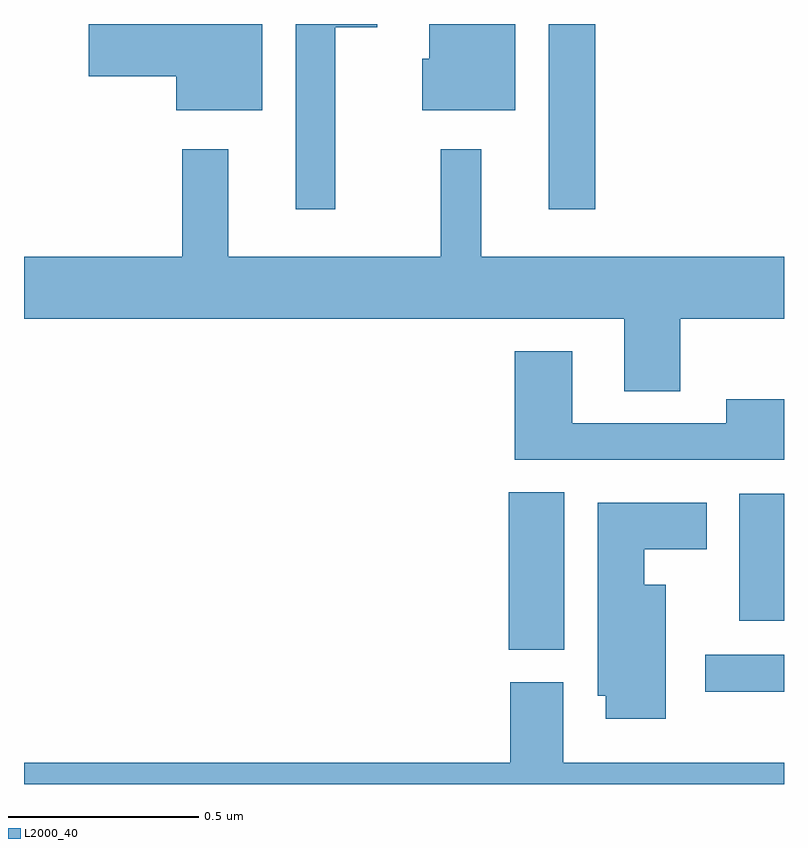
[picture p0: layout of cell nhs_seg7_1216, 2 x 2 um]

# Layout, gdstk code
import gdstk
lib = gdstk.Library(unit=1e-6, precision=1e-09)
def R(c, l, rs):  # rectangles x0, y0, x1, y1
    for r in rs: c.add(gdstk.rectangle(r[:2], r[2:], *l))
def P(c, l, *ps):  # polygons
    for p in ps: c.add(gdstk.Polygon(p, *l))
L2000_40 = (2000, 40)

nhs_seg7_1216 = lib.new_cell('nhs_seg7_1216')
R(nhs_seg7_1216, L2000_40, [(128.793,1058.243,129,1058.34), (128.276,1058.353,128.422,1058.768), (128.882,1058.429,129,1058.764), (128.381,1059.513,128.503,1060)])
P(nhs_seg7_1216, L2000_40, [(127.627,1060),(127.17,1060),(127.17,1059.862),(127.4,1059.862),(127.4,1059.773),(127.627,1059.773)],
  [(127.819,1059.992),(127.93,1059.992),(127.93,1060),(127.715,1060),(127.715,1059.513),(127.819,1059.513)],
  [(128.293,1060),(128.066,1060),(128.066,1059.909),(128.048,1059.909),(128.048,1059.773),(128.293,1059.773)],
  [(128.727,1059.224),(129,1059.224),(129,1059.388),(128.203,1059.388),(128.203,1059.67),(128.097,1059.67),(128.097,1059.388),(127.537,1059.388),(127.537,1059.67),(127.416,1059.67),(127.416,1059.388),(127,1059.388),(127,1059.224),(128.579,1059.224),(128.579,1059.034),(128.727,1059.034)],
  [(129,1059.013),(128.848,1059.013),(128.848,1058.949),(128.443,1058.949),(128.443,1059.139),(128.291,1059.139),(128.291,1058.853),(129,1058.853)],
  [(128.689,1058.524),(128.632,1058.524),(128.632,1058.618),(128.797,1058.618),(128.797,1058.74),(128.51,1058.74),(128.51,1058.232),(128.531,1058.232),(128.531,1058.172),(128.689,1058.172)],
  [(129,1058.056),(128.419,1058.056),(128.419,1058.268),(128.279,1058.268),(128.279,1058.056),(127,1058.056),(127,1058),(129,1058)])

lib.write_gds('nhs_seg7_1216.gds')
